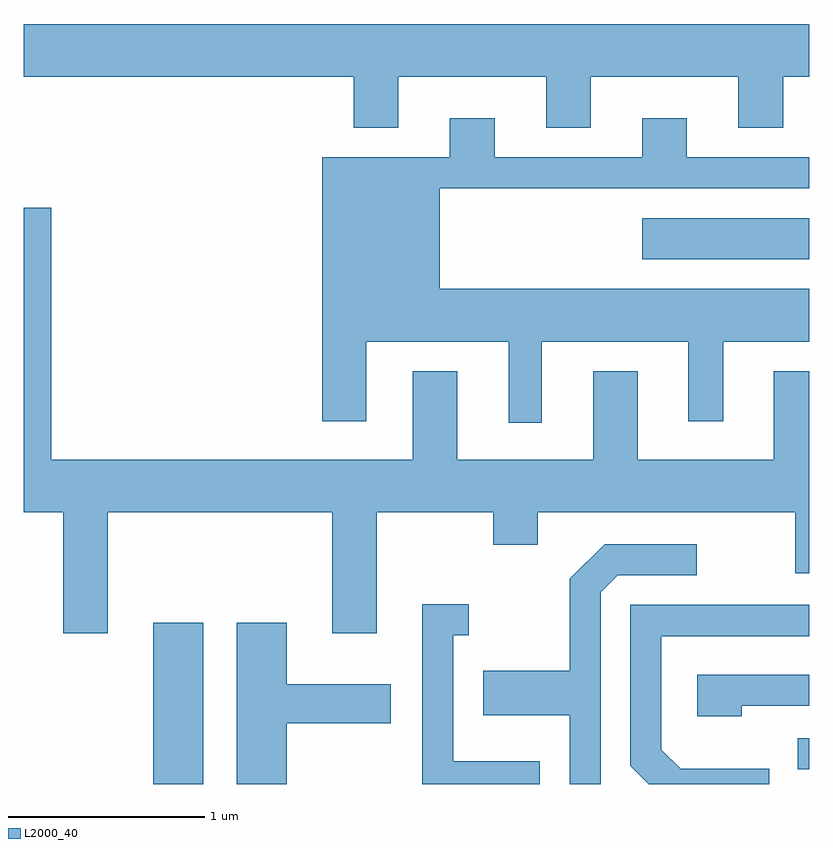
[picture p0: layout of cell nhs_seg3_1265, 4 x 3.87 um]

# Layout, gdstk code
import gdstk
lib = gdstk.Library(unit=1e-6, precision=1e-09)
def R(c, l, rs):  # rectangles x0, y0, x1, y1
    for r in rs: c.add(gdstk.rectangle(r[:2], r[2:], *l))
def P(c, l, *ps):  # polygons
    for p in ps: c.add(gdstk.Polygon(p, *l))
L2000_40 = (2000, 40)

nhs_seg3_1265 = lib.new_cell('nhs_seg3_1265')
R(nhs_seg3_1265, L2000_40, [(222.271,1197.892,222.524,1198.714), (225.553,1197.966,225.611,1198.124), (224.761,1200.566,225.611,1200.774)])
P(nhs_seg3_1265, L2000_40, [(223.519,1201.496),(224.271,1201.496),(224.271,1201.236),(224.499,1201.236),(224.499,1201.496),(225.251,1201.496),(225.251,1201.236),(225.479,1201.236),(225.479,1201.496),(225.611,1201.496),(225.611,1201.764),(221.611,1201.764),(221.611,1201.496),(223.291,1201.496),(223.291,1201.236),(223.519,1201.236)],
  [(224.249,1200.146),(224.996,1200.146),(224.996,1199.741),(225.174,1199.741),(225.174,1200.146),(225.611,1200.146),(225.611,1200.414),(223.729,1200.414),(223.729,1200.926),(225.611,1200.926),(225.611,1201.084),(224.989,1201.084),(224.989,1201.284),(224.761,1201.284),(224.761,1201.084),(224.009,1201.084),(224.009,1201.284),(223.781,1201.284),(223.781,1201.084),(223.131,1201.084),(223.131,1199.741),(223.354,1199.741),(223.354,1200.146),(224.081,1200.146),(224.081,1199.733),(224.249,1199.733)],
  [(222.039,1199.276),(223.181,1199.276),(223.181,1198.661),(223.409,1198.661),(223.409,1199.276),(224.001,1199.276),(224.001,1199.111),(224.229,1199.111),(224.229,1199.276),(225.541,1199.276),(225.541,1198.966),(225.611,1198.966),(225.611,1199.994),(225.431,1199.994),(225.431,1199.544),(224.739,1199.544),(224.739,1199.994),(224.511,1199.994),(224.511,1199.544),(223.819,1199.544),(223.819,1199.994),(223.591,1199.994),(223.591,1199.544),(221.749,1199.544),(221.749,1200.829),(221.611,1200.829),(221.611,1199.276),(221.811,1199.276),(221.811,1198.661),(222.039,1198.661)],
  [(224.549,1198.869),(224.637,1198.956),(225.038,1198.956),(225.038,1199.114),(224.569,1199.114),(224.391,1198.937),(224.391,1198.469),(223.951,1198.469),(223.951,1198.241),(224.391,1198.241),(224.391,1197.892),(224.549,1197.892)],
  [(224.239,1198.009),(223.799,1198.009),(223.799,1198.651),(223.878,1198.651),(223.878,1198.809),(223.641,1198.809),(223.641,1197.892),(224.239,1197.892)],
  [(225.409,1197.969),(224.957,1197.969),(224.859,1198.067),(224.859,1198.646),(225.611,1198.646),(225.611,1198.804),(224.701,1198.804),(224.701,1197.984),(224.793,1197.892),(225.409,1197.892)],
  [(222.949,1198.201),(223.479,1198.201),(223.479,1198.399),(222.949,1198.399),(222.949,1198.714),(222.696,1198.714),(222.696,1197.892),(222.949,1197.892)],
  [(225.269,1198.291),(225.611,1198.291),(225.611,1198.449),(225.041,1198.449),(225.041,1198.236),(225.269,1198.236)])

lib.write_gds('nhs_seg3_1265.gds')
